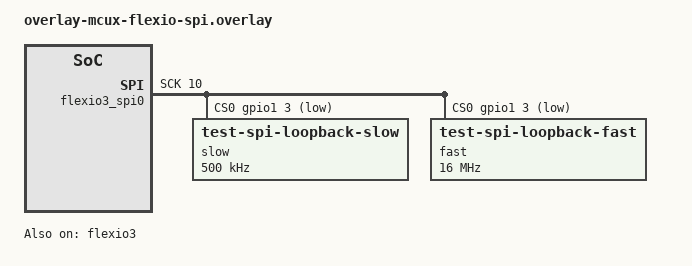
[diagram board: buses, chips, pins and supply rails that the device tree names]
/*
 * Copyright (c) 2024, STRIM, ALC
 * Copyright (c) 2025, NXP
 *
 * SPDX-License-Identifier: Apache-2.0
 */

/* On RT1060 EVKC, SPI loopback test, short J17-9 and J17-10
 * On RT1064 EVK,  SPI loopback test, short J24-9 and J24-10
 */

&pinctrl {
	pinmux_flexio3spi0: pinmux_flexio3spi0 {
		group0 {
			pinmux = <&iomuxc_gpio_ad_b0_03_gpio1_io03>, /* cs */
				 <&iomuxc_gpio_ad_b1_10_flexio3_flexio10>, /* sck */
				 <&iomuxc_gpio_ad_b1_00_flexio3_flexio00>, /* sdo */
				 <&iomuxc_gpio_ad_b1_01_flexio3_flexio01>; /* sdi */
			drive-strength = "r0-6";
			slew-rate = "slow";
			nxp,speed = "150-mhz";
		};
	};
};

&flexio3 {
	status = "okay";
	flexio3_spi0: flexio3_spi0 {
		compatible = "nxp,flexio-spi";
		status = "okay";
		#address-cells = <1>;
		#size-cells = <0>;
		cs-gpios = <&gpio1 3 GPIO_ACTIVE_LOW>;
		sdo-pin = <0>;
		sdi-pin = <1>;
		sck-pin = <10>;
		pinctrl-0 = <&pinmux_flexio3spi0>;
		pinctrl-names = "default";
		slow@0 {
			status = "okay";
			compatible = "test-spi-loopback-slow";
			reg = <0>;
			spi-max-frequency = <500000>;
		};

		fast@0 {
			status = "okay";
			compatible = "test-spi-loopback-fast";
			reg = <0>;
			spi-max-frequency = <16000000>;
		};
	};
};
